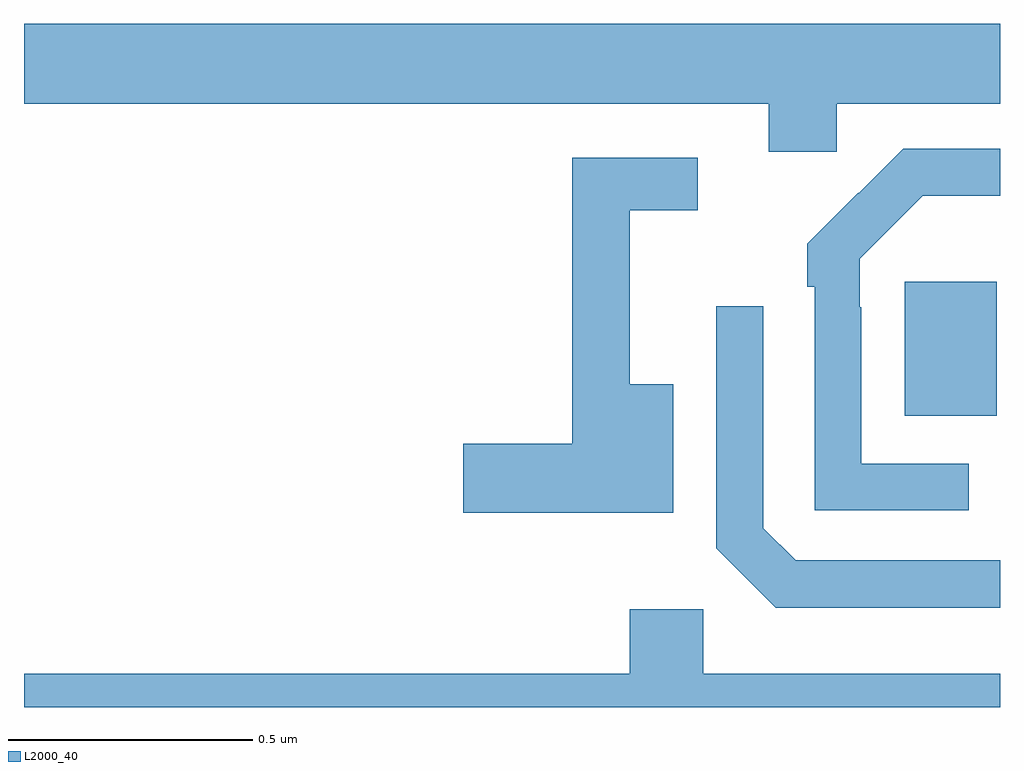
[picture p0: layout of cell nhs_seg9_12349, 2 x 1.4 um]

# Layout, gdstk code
import gdstk
lib = gdstk.Library(unit=1e-6, precision=1e-09)
def R(c, l, rs):  # rectangles x0, y0, x1, y1
    for r in rs: c.add(gdstk.rectangle(r[:2], r[2:], *l))
def P(c, l, *ps):  # polygons
    for p in ps: c.add(gdstk.Polygon(p, *l))
L2000_40 = (2000, 40)

nhs_seg9_12349 = lib.new_cell('nhs_seg9_12349')
R(nhs_seg9_12349, L2000_40, [(268.805,1213.097,268.993,1213.372)])
P(nhs_seg9_12349, L2000_40, [(268.665,1213.736),(269,1213.736),(269,1213.9),(267,1213.9),(267,1213.736),(268.526,1213.736),(268.526,1213.638),(268.665,1213.638)],
  [(268.936,1212.999),(268.716,1212.999),(268.716,1213.319),(268.713,1213.319),(268.713,1213.419),(268.842,1213.548),(269,1213.548),(269,1213.644),(268.802,1213.644),(268.711,1213.553),(268.71,1213.554),(268.605,1213.449),(268.605,1213.361),(268.62,1213.361),(268.62,1212.903),(268.936,1212.903)],
  [(268.33,1213.162),(268.241,1213.162),(268.241,1213.518),(268.381,1213.518),(268.381,1213.626),(268.123,1213.626),(268.123,1213.04),(267.9,1213.04),(267.9,1212.898),(268.33,1212.898)],
  [(269,1212.801),(268.581,1212.801),(268.515,1212.867),(268.515,1213.321),(268.419,1213.321),(268.419,1212.825),(268.54,1212.704),(269,1212.704)],
  [(269,1212.568),(268.392,1212.568),(268.392,1212.7),(268.241,1212.7),(268.241,1212.568),(267,1212.568),(267,1212.5),(269,1212.5)])

lib.write_gds('nhs_seg9_12349.gds')
